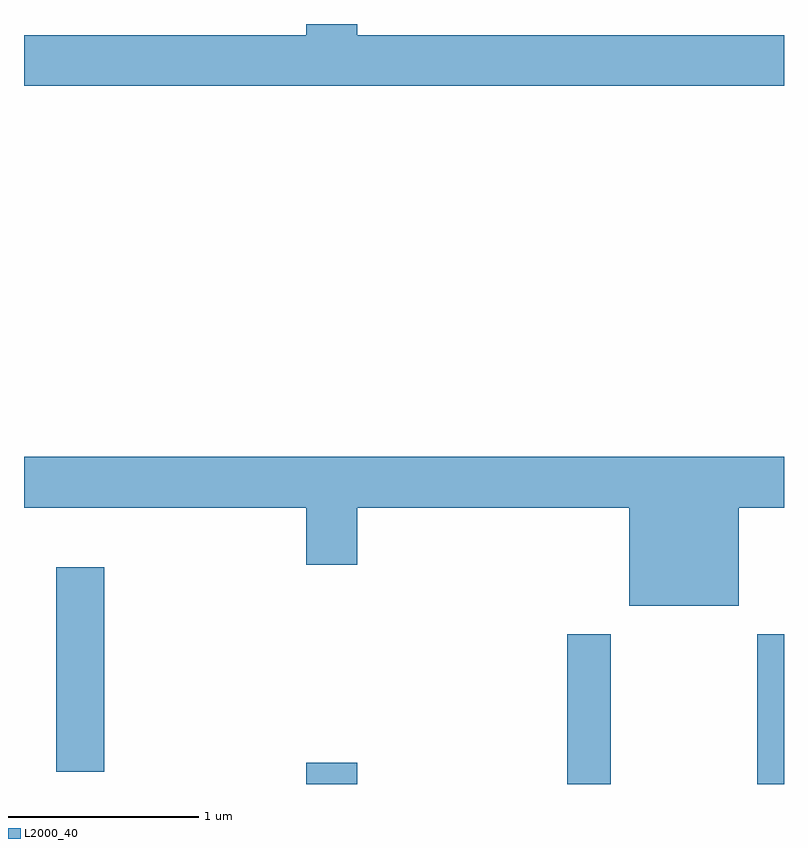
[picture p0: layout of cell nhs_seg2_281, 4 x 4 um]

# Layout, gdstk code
import gdstk
lib = gdstk.Library(unit=1e-6, precision=1e-09)
def R(c, l, rs):  # rectangles x0, y0, x1, y1
    for r in rs: c.add(gdstk.rectangle(r[:2], r[2:], *l))
def P(c, l, *ps):  # polygons
    for p in ps: c.add(gdstk.Polygon(p, *l))
L2000_40 = (2000, 40)

nhs_seg2_281 = lib.new_cell('nhs_seg2_281')
R(nhs_seg2_281, L2000_40, [(195.096,995.802,195.364,995.914), (196.471,995.802,196.699,996.589), (197.471,995.802,197.611,996.589), (193.781,995.866,194.034,996.944)])
P(nhs_seg2_281, L2000_40, [(197.611,999.744),(195.364,999.744),(195.364,999.802),(195.096,999.802),(195.096,999.744),(193.611,999.744),(193.611,999.476),(197.611,999.476)],
  [(197.374,997.256),(197.611,997.256),(197.611,997.524),(193.611,997.524),(193.611,997.256),(195.096,997.256),(195.096,996.956),(195.364,996.956),(195.364,997.256),(196.796,997.256),(196.796,996.741),(197.374,996.741)])

lib.write_gds('nhs_seg2_281.gds')
